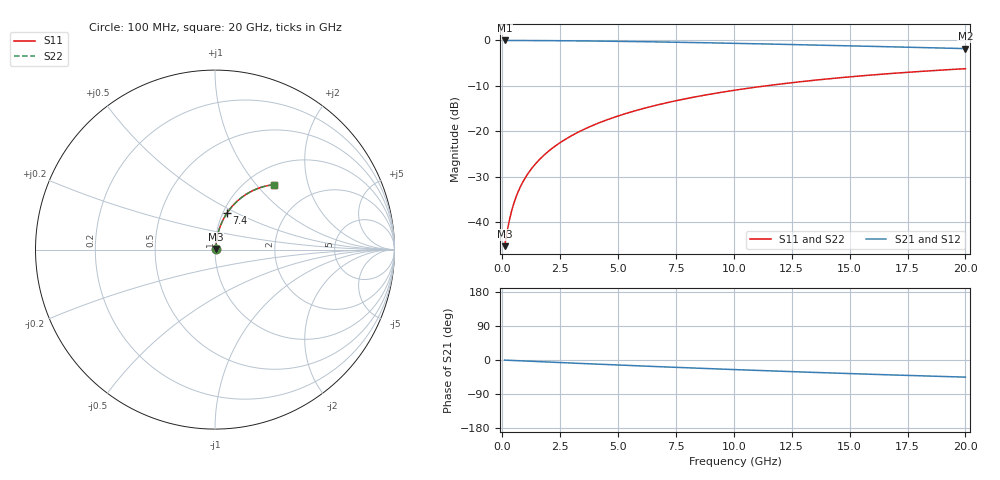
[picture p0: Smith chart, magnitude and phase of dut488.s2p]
! Touchstone file exported from HFSS 2024.1.0
!  File:  C:/UserFiles/LocalFiles/RDL_TSV_Batchsim/temp_RDL_top_488_1779678602.aedt
!  Generated:  11:12:14 AM May 25, 2026
!  Design:  RDL_top
!  Project:  temp_RDL_top_488_1779678602
!  Setup:  Setup1
!  Solution:  Sweep
! Variables:
!  dtsv = 10.80580581um
!  hbump = 3um
!  htsv = 57.82um
!  ldown = 100um
!  lrdl = 623.27um
!  p = 40
!  p1 = 44.08um
!  rhole = 1um
!  t = 450um
!  tdown = 3.915915916um
!  trdl = 4.41um
!  wdown = 15.38538539um
!  wrdl = 11.23um
# GHz S MA R 50.000000
! Terminal data exported
! Port[1] = Box2_T1
! Port[2] = Box2_T2
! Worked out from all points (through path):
!   200 points, 100 MHz to 20 GHz, reference 50 ohm
!   highest |S21| = -0.04 dB at 100 MHz (marker M1); lowest = -1.8 dB at 20 GHz (marker M2)
!   group delay of S21, straight-line fit = 6.28 ps
!   lowest |S11| = -45.3 dB at 100 MHz (marker M3), VSWR 1.01, Z = 50.4 + j0.312 ohm
!   |S11| at or under -10 dB: start of sweep to 11.41 GHz
!   |S22| runs from -45.3 to -6.3 dB; largest |S21 - S12| = 4.3e-15
!   S11 on the Smith chart (normalised r, x): 100 MHz: 1.01, +0.01; 7.4 GHz: 1.05, +0.45; 20 GHz: 1.31, +1.24
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0.1  0.005451 34.6  0.9955 -0.3  0.9955 -0.3  0.005451 34.6
! Gamma 0 0 0 0
! Port Impedance 50 0 50 0
0.2  0.007677 53.7  0.9954 -0.6  0.9954 -0.6  0.007675 53.7
0.3  0.01036 63.4  0.9953 -0.8  0.9953 -0.8  0.01036 63.4
0.4  0.01323 68.8  0.9952 -1.1  0.9952 -1.1  0.01322 68.9
0.5  0.01616 72.2  0.995 -1.4  0.995 -1.4  0.01616 72.2
0.6  0.01912 74.4  0.9948 -1.6  0.9948 -1.6  0.01912 74.5
0.8  0.02507 77.1  0.9945 -2.2  0.9945 -2.2  0.02507 77.1
1.1  0.03396 79.0  0.9939 -3.0  0.9939 -3.0  0.03397 79.1
1.5  0.04575 80.1  0.9929 -4.1  0.9929 -4.1  0.04576 80.1
1.8  0.05456 80.3  0.992 -4.9  0.992 -4.9  0.05457 80.4
2.1  0.06334 80.4  0.9909 -5.7  0.9909 -5.7  0.06335 80.4
2.7  0.08086 80.0  0.9884 -7.3  0.9884 -7.3  0.08086 80.0
3.5  0.1041 79.0  0.9842 -9.4  0.9842 -9.4  0.1041 79.0
4.2  0.1243 77.9  0.9798 -11.2  0.9798 -11.2  0.1243 77.9
5  0.1471 76.5  0.974 -13.2  0.974 -13.2  0.1471 76.5
6.8  0.1974 73.0  0.9588 -17.7  0.9588 -17.7  0.1974 73.0
7.4  0.2137 71.8  0.9531 -19.2  0.9531 -19.2  0.2137 71.8
8.7  0.2483 69.2  0.9401 -22.3  0.9401 -22.3  0.2482 69.2
10.1  0.2841 66.4  0.9252 -25.5  0.9252 -25.5  0.284 66.4
13.4  0.362 59.9  0.8875 -32.6  0.8875 -32.6  0.3618 59.9
16.7  0.4297 53.7  0.8485 -39.2  0.8485 -39.2  0.4295 53.7
20  0.4871 47.9  0.81 -45.2  0.81 -45.2  0.4869 47.9
